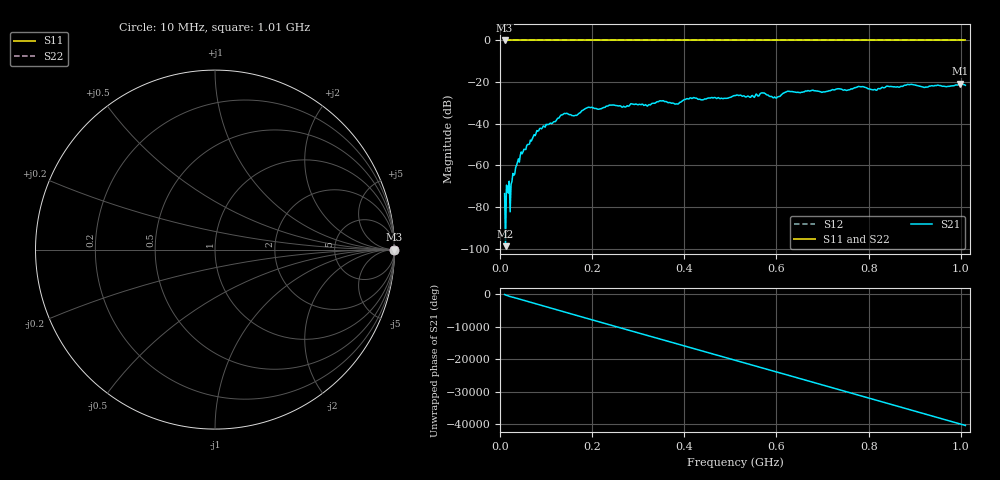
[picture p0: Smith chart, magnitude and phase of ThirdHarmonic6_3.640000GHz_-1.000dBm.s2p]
! 8/17/2025 12:13:50 PM
! C:\ANRITSUVNA\TEMP\TEMP.S2P
! CHANNEL.1
! TR.MEASUREMENT
! RAW.DATA
! RF.CORRECTION.OFF
! AVERAGING.OFF
! IF.BANDWIDTH: 5KHZ
! SWEEPTYPE:  FREQ.SWEEP(Linear)
! Reference Plane Port Info
! PORT:  PORT1  PORT2
! DISTANCE:  0  m  0  m
! TIME:  0  s  0  s
! PHASE.OFFSET:  0  deg.  0  deg.
! LOSS:  0  dB  0  dB
! REF.LOSS:  0  dB  0  dB
! REF.FREQ:  0  Hz  0  Hz
! Power Info
! POWER:  -20  dBm  -20  dBm
! EFF.POWER:  -20  dBm  -20  dBm
! SOURCE.ATTEN:  0  dB  0  dB
! TEST.ATTEN:  0  dB  0  dB
# GHZ S RI R 50.0
! FREQ.GHZ  S11RE  S11IM  S21RE  S21IM  S12RE  S12IM  S22RE  S22IM
!; PortSelection: Port_12
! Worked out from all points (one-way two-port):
!   501 points, 10 MHz to 1.01 GHz, reference 50 ohm
!   highest |S21| = -20.74 dB at 998 MHz (marker M1); lowest = -98.8 dB at 12 MHz (marker M2)
!   lowest |S11| = 0.0 dB at 10 MHz (marker M3)
!   |S11| at or under -10 dB: nowhere
!   |S22| runs from 0.0 to 0.0 dB; largest |S21 - S12| = 1.1
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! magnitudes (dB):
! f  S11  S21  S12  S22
! 10 MHz  0.0  -73.6  0.0  0.0
! 12 MHz  0.0  -98.8  0.0  0.0
! 22 MHz  0.0  -82.3  0.0  0.0
! 32 MHz  0.0  -64.1  0.0  0.0
! 48 MHz  0.0  -54.4  0.0  0.0
! 84 MHz  0.0  -43.3  0.0  0.0
! 136 MHz  0.0  -35.6  0.0  0.0
! 162 MHz  0.0  -36.1  0.0  0.0
! 178 MHz  0.0  -33.7  0.0  0.0
! 344 MHz  0.0  -29.4  0.0  0.0
! 384 MHz  0.0  -30.4  0.0  0.0
! 416 MHz  0.0  -27.9  0.0  0.0
! 510 MHz  0.0  -26.5  0.0  0.0
! 570 MHz  0.0  -25.2  0.0  0.0
! 596 MHz  0.0  -27.1  0.0  0.0
! 624 MHz  0.0  -24.4  0.0  0.0
! 678 MHz  0.0  -23.9  0.0  0.0
! 782 MHz  0.0  -22.2  0.0  0.0
! 814 MHz  0.0  -23.6  0.0  0.0
! 844 MHz  0.0  -22.1  0.0  0.0
! 998 MHz  0.0  -20.7  0.0  0.0
! 1.01 GHz  0.0  -21.5  0.0  0.0
